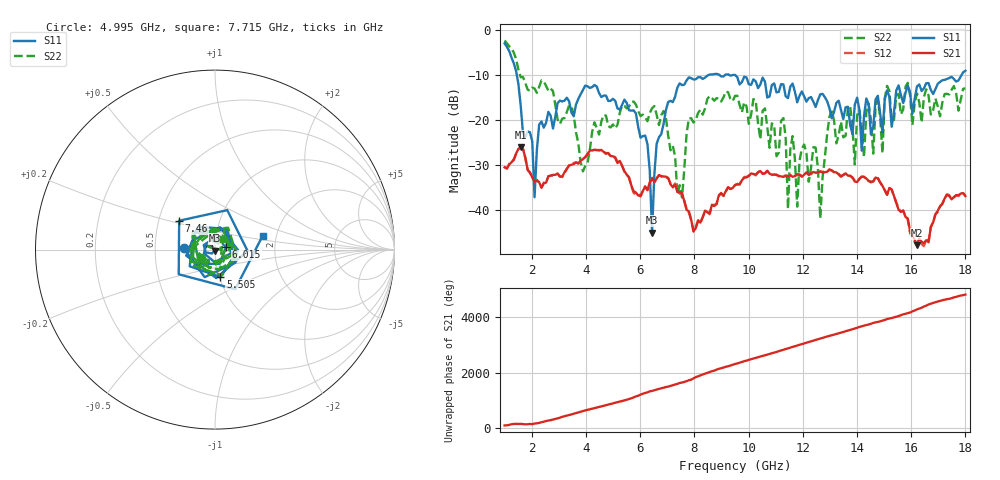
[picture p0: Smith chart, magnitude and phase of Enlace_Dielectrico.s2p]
!Keysight Technologies N9917A: A.11.27
!Date: Saturday, 26 October 2019 06:42:03
!Timezone: (UTC-08:00) Pacific Time (US & Canada)
!Model: N9917A
!Serial: MY56072049
!GPS Latitude:
!GPS Longitude:
!GPS TimeStamp: 0001-01-01 00:00:00Z
!GPS Seconds Since Last Read: 0
!CHECKSUM:1156567375
!Correction: S11(Rdy)S21(Rdy)S12(Rdy)S22(Rdy)
!S2P File: Measurements:S11,S21,S12,S22:
# Hz S DB R 50
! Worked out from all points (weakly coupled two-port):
!   201 points, 1 GHz to 18 GHz, reference 50 ohm
!   highest |S21| = -25.97 dB at 1.595 GHz (marker M1); lowest = -47.7 dB at 16.21 GHz (marker M2)
!   lowest |S11| = -44.9 dB at 6.44 GHz (marker M3), VSWR 1.01, Z = 49.7 - j0.503 ohm
!   |S11| at or under -10 dB: 1.45 GHz to 8.522 GHz (7.071 GHz wide, 142 % of centre); 8.929 GHz to 9.134 GHz (205.1 MHz wide, 2.27 % of centre); 9.507 GHz to 17.86 GHz (8.35 GHz wide, 61 % of centre) (the widest 3 of 4)
!   |S22| runs from -41.8 to -2.3 dB; largest |S21 - S12| = 0.0015
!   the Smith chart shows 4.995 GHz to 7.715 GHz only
!   S11 on the Smith chart (normalised r, x): 4.995 GHz: 0.71, +0.01; 5.505 GHz: 1.01, -0.32; 6.015 GHz: 1.13, +0.03; 7.46 GHz: 0.64, +0.22; 7.715 GHz: 1.69, +0.28
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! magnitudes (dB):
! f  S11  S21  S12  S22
! 1 GHz  -3.0  -30.4  -30.3  -2.3
! 1.595 GHz  -16.9  -26.0  -26.1  -10.5
! 2.105 GHz  -37.1  -33.7  -33.3  -13.0
! 2.275 GHz  -21.0  -33.8  -33.8  -12.6
! 3.89 GHz  -13.3  -28.6  -28.6  -31.3
! 4.995 GHz  -15.3  -28.0  -27.9  -20.9
! 5.505 GHz  -16.2  -32.1  -32.0  -17.4
! 6.015 GHz  -23.9  -36.8  -36.9  -19.1
! 6.44 GHz  -44.9  -32.8  -32.8  -17.4
! 6.695 GHz  -23.8  -32.2  -32.2  -21.1
! 7.46 GHz  -11.8  -35.9  -36.2  -34.4
! 7.715 GHz  -11.2  -39.9  -39.7  -22.9
! 9.5 GHz  -10.0  -34.4  -34.4  -14.6
! 11.29 GHz  -12.1  -32.5  -32.4  -19.5
! 11.46 GHz  -15.1  -32.5  -32.5  -39.7
! 11.62 GHz  -11.9  -32.5  -32.4  -23.5
! 12.39 GHz  -15.9  -31.5  -31.5  -26.0
! 12.64 GHz  -14.3  -31.3  -31.4  -41.8
! 13.07 GHz  -19.6  -31.2  -31.1  -18.0
! 15.2 GHz  -14.8  -35.0  -35.1  -13.5
! 16.21 GHz  -12.5  -47.7  -47.2  -14.1
! 18 GHz  -9.0  -36.8  -36.7  -12.9
